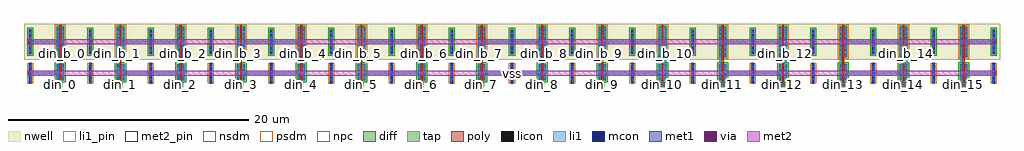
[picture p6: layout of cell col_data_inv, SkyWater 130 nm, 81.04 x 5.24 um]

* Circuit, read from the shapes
.subckt col_data_inv din_0 din_1 din_10 din_11 din_12 din_13 din_14 din_15 din_2 din_3 din_4 din_5 din_6 din_7 din_8 din_9 din_b_0 din_b_1 din_b_10 din_b_11 din_b_12 din_b_13 din_b_14 din_b_15 din_b_2 din_b_3 din_b_4 din_b_5 din_b_6 din_b_7 din_b_8 din_b_9 vdd vss
XM1 din_b_0 din_0 vss vss sky130_fd_pr__nfet_01v8 w=1.4 l=0.15
XM2 vss din_1 din_b_1 vss sky130_fd_pr__nfet_01v8 w=1.4 l=0.15
XM3 din_b_2 din_2 vss vss sky130_fd_pr__nfet_01v8 w=1.4 l=0.15
XM4 vss din_3 din_b_3 vss sky130_fd_pr__nfet_01v8 w=1.4 l=0.15
XM5 din_b_4 din_4 vss vss sky130_fd_pr__nfet_01v8 w=1.4 l=0.15
XM6 vss din_5 din_b_5 vss sky130_fd_pr__nfet_01v8 w=1.4 l=0.15
XM7 din_b_6 din_6 vss vss sky130_fd_pr__nfet_01v8 w=1.4 l=0.15
XM8 vss din_7 din_b_7 vss sky130_fd_pr__nfet_01v8 w=1.4 l=0.15
XM9 din_b_8 din_8 vss vss sky130_fd_pr__nfet_01v8 w=1.4 l=0.15
XM10 vss din_9 din_b_9 vss sky130_fd_pr__nfet_01v8 w=1.4 l=0.15
XM11 din_b_10 din_10 vss vss sky130_fd_pr__nfet_01v8 w=1.4 l=0.15
XM12 vss din_11 din_b_11 vss sky130_fd_pr__nfet_01v8 w=1.4 l=0.15
XM13 din_b_12 din_12 vss vss sky130_fd_pr__nfet_01v8 w=1.4 l=0.15
XM14 vss din_13 din_b_13 vss sky130_fd_pr__nfet_01v8 w=1.4 l=0.15
XM15 din_b_14 din_14 vss vss sky130_fd_pr__nfet_01v8 w=1.4 l=0.15
XM16 vss din_15 din_b_15 vss sky130_fd_pr__nfet_01v8 w=1.4 l=0.15
XM17 din_b_0 din_0 vdd vdd sky130_fd_pr__pfet_01v8 w=2.6 l=0.15
XM18 vdd din_1 din_b_1 vdd sky130_fd_pr__pfet_01v8 w=2.6 l=0.15
XM19 din_b_2 din_2 vdd vdd sky130_fd_pr__pfet_01v8 w=2.6 l=0.15
XM20 vdd din_3 din_b_3 vdd sky130_fd_pr__pfet_01v8 w=2.6 l=0.15
XM21 din_b_4 din_4 vdd vdd sky130_fd_pr__pfet_01v8 w=2.6 l=0.15
XM22 vdd din_5 din_b_5 vdd sky130_fd_pr__pfet_01v8 w=2.6 l=0.15
XM23 din_b_6 din_6 vdd vdd sky130_fd_pr__pfet_01v8 w=2.6 l=0.15
XM24 vdd din_7 din_b_7 vdd sky130_fd_pr__pfet_01v8 w=2.6 l=0.15
XM25 din_b_8 din_8 vdd vdd sky130_fd_pr__pfet_01v8 w=2.6 l=0.15
XM26 vdd din_9 din_b_9 vdd sky130_fd_pr__pfet_01v8 w=2.6 l=0.15
XM27 din_b_10 din_10 vdd vdd sky130_fd_pr__pfet_01v8 w=2.6 l=0.15
XM28 vdd din_11 din_b_11 vdd sky130_fd_pr__pfet_01v8 w=2.6 l=0.15
XM29 din_b_12 din_12 vdd vdd sky130_fd_pr__pfet_01v8 w=2.6 l=0.15
XM30 vdd din_13 din_b_13 vdd sky130_fd_pr__pfet_01v8 w=2.6 l=0.15
XM31 din_b_14 din_14 vdd vdd sky130_fd_pr__pfet_01v8 w=2.6 l=0.15
XM32 vdd din_15 din_b_15 vdd sky130_fd_pr__pfet_01v8 w=2.6 l=0.15
.ends

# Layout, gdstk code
from math import pi, radians
import gdstk
lib = gdstk.Library(unit=1e-6, precision=1e-09)
def R(c, l, rs):  # rectangles x0, y0, x1, y1
    for r in rs: c.add(gdstk.rectangle(r[:2], r[2:], *l))
def A(c, l, x, y, w, h, nx, ny, dx, dy):  # array of equal rectangles
    R(c, l, [(x+i*dx, y+j*dy, x+i*dx+w, y+j*dy+h) for i in range(nx) for j in range(ny)])
nwell = (64, 20)
diff = (65, 20)
tap = (65, 44)
poly = (66, 20)
licon = (66, 44)
li1_pin = (67, 16)
li1 = (67, 20)
mcon = (67, 44)
met1 = (68, 20)
via = (68, 44)
met2_pin = (69, 16)
met2 = (69, 20)
nsdm = (93, 44)
psdm = (94, 20)
npc = (95, 20)

polyc_1x1h = lib.new_cell('polyc_1x1h')
R(polyc_1x1h, poly, [(-0.08,-0.05,0.25,0.22)])
R(polyc_1x1h, licon, [(0,0,0.17,0.17)])
R(polyc_1x1h, li1, [(-0.08,0,0.25,0.17)])
R(polyc_1x1h, npc, [(-0.1,-0.1,0.27,0.27)])

ndiffc_1x4h = lib.new_cell('ndiffc_1x4h')
R(ndiffc_1x4h, diff, [(-0.06,-0.04,1.25,0.21)])
A(ndiffc_1x4h, licon, 0, 0, 0.17, 0.17, 4, 1, 0.34, 0)
R(ndiffc_1x4h, li1, [(-0.08,0,1.27,0.17)])
R(ndiffc_1x4h, nsdm, [(-0.185,-0.165,1.375,0.335)])

pdiffc_1x7h = lib.new_cell('pdiffc_1x7h')
R(pdiffc_1x7h, nwell, [(-0.24,-0.22,2.45,0.39)])
R(pdiffc_1x7h, diff, [(-0.06,-0.04,2.27,0.21)])
A(pdiffc_1x7h, licon, 0, 0, 0.17, 0.17, 7, 1, 0.34, 0)
R(pdiffc_1x7h, li1, [(-0.08,0,2.29,0.17)])
R(pdiffc_1x7h, psdm, [(-0.185,-0.165,2.395,0.335)])

ptx__nmos_svt_1400_150_1 = lib.new_cell('ptx__nmos_svt_1400_150_1__pmos_svt_2600_150_1')
R(ptx__nmos_svt_1400_150_1, nwell, [(1.74,-0.18,4.7,0.86)])
R(ptx__nmos_svt_1400_150_1, diff, [(0,0,1.4,0.68), (1.92,0,4.52,0.68)])
R(ptx__nmos_svt_1400_150_1, poly, [(-0.19,0.265,4.65,0.415)])
R(ptx__nmos_svt_1400_150_1, nsdm, [(-0.125,-0.125,1.525,0.805)])
R(ptx__nmos_svt_1400_150_1, psdm, [(1.795,-0.125,4.645,0.805)])
R(ptx__nmos_svt_1400_150_1, npc, [(-0.54,0.155,-0.17,0.525)])
ptx__nmos_svt_1400_150_1.add(gdstk.Reference(polyc_1x1h, (-0.44,0.255)))
ptx__nmos_svt_1400_150_1.add(gdstk.Reference(ndiffc_1x4h, (0.105,0.04)))
ptx__nmos_svt_1400_150_1.add(gdstk.Reference(pdiffc_1x7h, (2.115,0.04)))
ptx__nmos_svt_1400_150_1.add(gdstk.Reference(ndiffc_1x4h, (0.105,0.47)))
ptx__nmos_svt_1400_150_1.add(gdstk.Reference(pdiffc_1x7h, (2.115,0.47)))

col_data_inv_cell_inv = lib.new_cell('col_data_inv_cell_inv')
R(col_data_inv_cell_inv, li1, [(0.025,0.47,4.405,0.64)])
col_data_inv_cell_inv.add(gdstk.Reference(ptx__nmos_svt_1400_150_1, (0,0)))

col_data_inv_cell = lib.new_cell('col_data_inv_cell')
col_data_inv_cell.add(gdstk.Reference(col_data_inv_cell_inv, (0,0), rotation=pi/2))

col_data_inv_array_inst = lib.new_cell('col_data_inv_array_inst')
col_data_inv_array_inst.add(gdstk.Reference(col_data_inv_cell, (-0.68,0), rotation=pi, x_reflection=True))
col_data_inv_array_inst.add(gdstk.Reference(col_data_inv_cell, (5,0)))
col_data_inv_array_inst.add(gdstk.Reference(col_data_inv_cell, (9.32,0), rotation=pi, x_reflection=True))
col_data_inv_array_inst.add(gdstk.Reference(col_data_inv_cell, (15,0)))
col_data_inv_array_inst.add(gdstk.Reference(col_data_inv_cell, (19.32,0), rotation=pi, x_reflection=True))
col_data_inv_array_inst.add(gdstk.Reference(col_data_inv_cell, (25,0)))
col_data_inv_array_inst.add(gdstk.Reference(col_data_inv_cell, (29.32,0), rotation=pi, x_reflection=True))
col_data_inv_array_inst.add(gdstk.Reference(col_data_inv_cell, (35,0)))
col_data_inv_array_inst.add(gdstk.Reference(col_data_inv_cell, (39.32,0), rotation=pi, x_reflection=True))
col_data_inv_array_inst.add(gdstk.Reference(col_data_inv_cell, (45,0)))
col_data_inv_array_inst.add(gdstk.Reference(col_data_inv_cell, (49.32,0), rotation=pi, x_reflection=True))
col_data_inv_array_inst.add(gdstk.Reference(col_data_inv_cell, (55,0)))
col_data_inv_array_inst.add(gdstk.Reference(col_data_inv_cell, (59.32,0), rotation=pi, x_reflection=True))
col_data_inv_array_inst.add(gdstk.Reference(col_data_inv_cell, (65,0)))
col_data_inv_array_inst.add(gdstk.Reference(col_data_inv_cell, (69.32,0), rotation=pi, x_reflection=True))
col_data_inv_array_inst.add(gdstk.Reference(col_data_inv_cell, (75,0)))

ntap_6x1v = lib.new_cell('ntap_6x1v')
R(ntap_6x1v, tap, [(-0.04,-0.12,0.21,1.99)])
A(ntap_6x1v, licon, 0, 0, 0.17, 0.17, 1, 6, 0, 0.34)
R(ntap_6x1v, li1, [(0,-0.08,0.17,1.95)])
R(ntap_6x1v, nsdm, [(-0.165,-0.245,0.335,2.115)])

viali_6x1v = lib.new_cell('viali_6x1v')
R(viali_6x1v, li1, [(0,0,0.17,1.97)])
A(viali_6x1v, mcon, 0, 0, 0.17, 0.17, 1, 6, 0, 0.36)
R(viali_6x1v, met1, [(-0.03,-0.06,0.2,2.03)])

col_inv_ntap_cell = lib.new_cell('col_inv_ntap_cell')
col_inv_ntap_cell.add(gdstk.Reference(ntap_6x1v, (0,0)))
col_inv_ntap_cell.add(gdstk.Reference(viali_6x1v, (0,-0.05)))

col_data_inv_ntap_array = lib.new_cell('col_data_inv_ntap_array')
col_data_inv_ntap_array.add(gdstk.Reference(col_inv_ntap_cell, (0,0)))
col_data_inv_ntap_array.add(gdstk.Reference(col_inv_ntap_cell, (5,0)))
col_data_inv_ntap_array.add(gdstk.Reference(col_inv_ntap_cell, (10,0)))
col_data_inv_ntap_array.add(gdstk.Reference(col_inv_ntap_cell, (15,0)))
col_data_inv_ntap_array.add(gdstk.Reference(col_inv_ntap_cell, (20,0)))
col_data_inv_ntap_array.add(gdstk.Reference(col_inv_ntap_cell, (25,0)))
col_data_inv_ntap_array.add(gdstk.Reference(col_inv_ntap_cell, (30,0)))
col_data_inv_ntap_array.add(gdstk.Reference(col_inv_ntap_cell, (35,0)))
col_data_inv_ntap_array.add(gdstk.Reference(col_inv_ntap_cell, (40,0)))
col_data_inv_ntap_array.add(gdstk.Reference(col_inv_ntap_cell, (45,0)))
col_data_inv_ntap_array.add(gdstk.Reference(col_inv_ntap_cell, (50,0)))
col_data_inv_ntap_array.add(gdstk.Reference(col_inv_ntap_cell, (55,0)))
col_data_inv_ntap_array.add(gdstk.Reference(col_inv_ntap_cell, (60,0)))
col_data_inv_ntap_array.add(gdstk.Reference(col_inv_ntap_cell, (65,0)))
col_data_inv_ntap_array.add(gdstk.Reference(col_inv_ntap_cell, (70,0)))
col_data_inv_ntap_array.add(gdstk.Reference(col_inv_ntap_cell, (75,0)))
col_data_inv_ntap_array.add(gdstk.Reference(col_inv_ntap_cell, (80,0)))

ptap_4x1v = lib.new_cell('ptap_4x1v')
R(ptap_4x1v, tap, [(-0.04,-0.12,0.21,1.31)])
A(ptap_4x1v, licon, 0, 0, 0.17, 0.17, 1, 4, 0, 0.34)
R(ptap_4x1v, li1, [(0,-0.08,0.17,1.27)])
R(ptap_4x1v, psdm, [(-0.165,-0.245,0.335,1.435)])

viali_5x1v = lib.new_cell('viali_5x1v')
R(viali_5x1v, li1, [(0,0,0.17,1.61)])
A(viali_5x1v, mcon, 0, 0, 0.17, 0.17, 1, 5, 0, 0.36)
R(viali_5x1v, met1, [(-0.03,-0.06,0.2,1.67)])

col_inv_ptap_cell = lib.new_cell('col_inv_ptap_cell')
col_inv_ptap_cell.add(gdstk.Reference(ptap_4x1v, (0,0)))
col_inv_ptap_cell.add(gdstk.Reference(viali_5x1v, (0,-0.21)))

col_data_inv_ptap_array = lib.new_cell('col_data_inv_ptap_array')
col_data_inv_ptap_array.add(gdstk.Reference(col_inv_ptap_cell, (0,0)))
col_data_inv_ptap_array.add(gdstk.Reference(col_inv_ptap_cell, (5,0)))
col_data_inv_ptap_array.add(gdstk.Reference(col_inv_ptap_cell, (10,0)))
col_data_inv_ptap_array.add(gdstk.Reference(col_inv_ptap_cell, (15,0)))
col_data_inv_ptap_array.add(gdstk.Reference(col_inv_ptap_cell, (20,0)))
col_data_inv_ptap_array.add(gdstk.Reference(col_inv_ptap_cell, (25,0)))
col_data_inv_ptap_array.add(gdstk.Reference(col_inv_ptap_cell, (30,0)))
col_data_inv_ptap_array.add(gdstk.Reference(col_inv_ptap_cell, (35,0)))
col_data_inv_ptap_array.add(gdstk.Reference(col_inv_ptap_cell, (40,0)))
col_data_inv_ptap_array.add(gdstk.Reference(col_inv_ptap_cell, (45,0)))
col_data_inv_ptap_array.add(gdstk.Reference(col_inv_ptap_cell, (50,0)))
col_data_inv_ptap_array.add(gdstk.Reference(col_inv_ptap_cell, (55,0)))
col_data_inv_ptap_array.add(gdstk.Reference(col_inv_ptap_cell, (60,0)))
col_data_inv_ptap_array.add(gdstk.Reference(col_inv_ptap_cell, (65,0)))
col_data_inv_ptap_array.add(gdstk.Reference(col_inv_ptap_cell, (70,0)))
col_data_inv_ptap_array.add(gdstk.Reference(col_inv_ptap_cell, (75,0)))
col_data_inv_ptap_array.add(gdstk.Reference(col_inv_ptap_cell, (80,0)))

via1_1x1v = lib.new_cell('via1_1x1v')
R(via1_1x1v, met1, [(-0.055,-0.085,0.205,0.235)])
R(via1_1x1v, via, [(0,0,0.15,0.15)])
R(via1_1x1v, met2, [(-0.055,-0.085,0.205,0.235)])

col_data_inv_route = lib.new_cell('col_data_inv_route')
R(col_data_inv_route, li1, [(-2.925,-0.205,-2.755,1.405), (7.075,-0.205,7.245,1.405), (7.075,-0.205,7.245,1.405), (17.075,-0.205,17.245,1.405), (17.075,-0.205,17.245,1.405), (27.075,-0.205,27.245,1.405), (27.075,-0.205,27.245,1.405), (37.075,-0.205,37.245,1.405), (37.075,-0.205,37.245,1.405), (47.075,-0.205,47.245,1.405), (47.075,-0.205,47.245,1.405), (57.075,-0.205,57.245,1.405), (57.075,-0.205,57.245,1.405), (67.075,-0.205,67.245,1.405), (67.075,-0.205,67.245,1.405), (77.075,-0.205,77.245,1.405), (-2.925,0.515,-0.555,0.685), (4.875,0.515,7.245,0.685), (7.075,0.515,9.445,0.685), (14.875,0.515,17.245,0.685), (17.075,0.515,19.445,0.685), (24.875,0.515,27.245,0.685), (27.075,0.515,29.445,0.685), (34.875,0.515,37.245,0.685), (37.075,0.515,39.445,0.685), (44.875,0.515,47.245,0.685), (47.075,0.515,49.445,0.685), (54.875,0.515,57.245,0.685), (57.075,0.515,59.445,0.685), (64.875,0.515,67.245,0.685), (67.075,0.515,69.445,0.685), (74.875,0.515,77.245,0.685), (-2.925,2.205,-2.755,4.235), (7.075,2.205,7.245,4.235), (7.075,2.205,7.245,4.235), (17.075,2.205,17.245,4.235), (17.075,2.205,17.245,4.235), (27.075,2.205,27.245,4.235), (27.075,2.205,27.245,4.235), (37.075,2.205,37.245,4.235), (37.075,2.205,37.245,4.235), (47.075,2.205,47.245,4.235), (47.075,2.205,47.245,4.235), (57.075,2.205,57.245,4.235), (57.075,2.205,57.245,4.235), (67.075,2.205,67.245,4.235), (67.075,2.205,67.245,4.235), (77.075,2.205,77.245,4.235), (-2.925,3.135,-0.555,3.305), (4.875,3.135,7.245,3.305), (7.075,3.135,9.445,3.305), (14.875,3.135,17.245,3.305), (17.075,3.135,19.445,3.305), (24.875,3.135,27.245,3.305), (27.075,3.135,29.445,3.305), (34.875,3.135,37.245,3.305), (37.075,3.135,39.445,3.305), (44.875,3.135,47.245,3.305), (47.075,3.135,49.445,3.305), (54.875,3.135,57.245,3.305), (57.075,3.135,59.445,3.305), (64.875,3.135,67.245,3.305), (67.075,3.135,69.445,3.305), (74.875,3.135,77.245,3.305)])
R(col_data_inv_route, met2, [(-3.055,0.39,77.375,0.81), (-3.055,3.01,77.375,3.43)])
col_data_inv_route.add(gdstk.Reference(via1_1x1v, (-2.915,3.145)))
col_data_inv_route.add(gdstk.Reference(via1_1x1v, (2.085,3.145)))
col_data_inv_route.add(gdstk.Reference(via1_1x1v, (7.085,3.145)))
col_data_inv_route.add(gdstk.Reference(via1_1x1v, (12.085,3.145)))
col_data_inv_route.add(gdstk.Reference(via1_1x1v, (17.085,3.145)))
col_data_inv_route.add(gdstk.Reference(via1_1x1v, (22.085,3.145)))
col_data_inv_route.add(gdstk.Reference(via1_1x1v, (27.085,3.145)))
col_data_inv_route.add(gdstk.Reference(via1_1x1v, (32.085,3.145)))
col_data_inv_route.add(gdstk.Reference(via1_1x1v, (37.085,3.145)))
col_data_inv_route.add(gdstk.Reference(via1_1x1v, (42.085,3.145)))
col_data_inv_route.add(gdstk.Reference(via1_1x1v, (47.085,3.145)))
col_data_inv_route.add(gdstk.Reference(via1_1x1v, (52.085,3.145)))
col_data_inv_route.add(gdstk.Reference(via1_1x1v, (57.085,3.145)))
col_data_inv_route.add(gdstk.Reference(via1_1x1v, (62.085,3.145)))
col_data_inv_route.add(gdstk.Reference(via1_1x1v, (67.085,3.145)))
col_data_inv_route.add(gdstk.Reference(via1_1x1v, (72.085,3.145)))
col_data_inv_route.add(gdstk.Reference(via1_1x1v, (77.085,3.145)))
col_data_inv_route.add(gdstk.Reference(via1_1x1v, (-2.915,0.525)))
col_data_inv_route.add(gdstk.Reference(via1_1x1v, (2.085,0.525)))
col_data_inv_route.add(gdstk.Reference(via1_1x1v, (7.085,0.525)))
col_data_inv_route.add(gdstk.Reference(via1_1x1v, (12.085,0.525)))
col_data_inv_route.add(gdstk.Reference(via1_1x1v, (17.085,0.525)))
col_data_inv_route.add(gdstk.Reference(via1_1x1v, (22.085,0.525)))
col_data_inv_route.add(gdstk.Reference(via1_1x1v, (27.085,0.525)))
col_data_inv_route.add(gdstk.Reference(via1_1x1v, (32.085,0.525)))
col_data_inv_route.add(gdstk.Reference(via1_1x1v, (37.085,0.525)))
col_data_inv_route.add(gdstk.Reference(via1_1x1v, (42.085,0.525)))
col_data_inv_route.add(gdstk.Reference(via1_1x1v, (47.085,0.525)))
col_data_inv_route.add(gdstk.Reference(via1_1x1v, (52.085,0.525)))
col_data_inv_route.add(gdstk.Reference(via1_1x1v, (57.085,0.525)))
col_data_inv_route.add(gdstk.Reference(via1_1x1v, (62.085,0.525)))
col_data_inv_route.add(gdstk.Reference(via1_1x1v, (67.085,0.525)))
col_data_inv_route.add(gdstk.Reference(via1_1x1v, (72.085,0.525)))
col_data_inv_route.add(gdstk.Reference(via1_1x1v, (77.085,0.525)))

col_data_inv = lib.new_cell('col_data_inv')
R(col_data_inv, nwell, [(-3.36,1.74,77.68,4.7)])
A(col_data_inv, li1_pin, -0.425, -0.52, 0.17, 0.33, 16, 1, 5, 0)
R(col_data_inv, li1_pin, [(-0.21,0.025,-0.04,4.405), (4.36,0.025,4.53,4.405), (9.79,0.025,9.96,4.405), (14.36,0.025,14.53,4.405), (19.79,0.025,19.96,4.405), (24.36,0.025,24.53,4.405), (29.79,0.025,29.96,4.405), (34.36,0.025,34.53,4.405), (39.79,0.025,39.96,4.405), (44.36,0.025,44.53,4.405), (49.79,0.025,49.96,4.405), (54.36,0.025,54.53,4.405), (59.79,0.025,59.96,4.405), (64.36,0.025,64.53,4.405), (69.79,0.025,69.96,4.405), (74.36,0.025,74.53,4.405)])
R(col_data_inv, met2_pin, [(-3.055,0.39,77.375,0.81), (-3.055,3.01,77.375,3.43)])
col_data_inv.add(gdstk.Reference(col_data_inv_array_inst, (0,0)))
col_data_inv.add(gdstk.Reference(col_data_inv_ntap_array, (-2.925,2.285)))
col_data_inv.add(gdstk.Reference(col_data_inv_ptap_array, (-2.925,0.005)))
col_data_inv.add(gdstk.Reference(col_data_inv_route, (0,0)))
col_data_inv.add(gdstk.Label('din_0', (-0.34,-0.355), layer=67, texttype=16))
col_data_inv.add(gdstk.Label('din_b_0', (-0.125,2.215), layer=67, texttype=16))
col_data_inv.add(gdstk.Label('din_1', (4.66,-0.355), layer=67, texttype=16))
col_data_inv.add(gdstk.Label('din_b_1', (4.445,2.215), layer=67, texttype=16))
col_data_inv.add(gdstk.Label('din_2', (9.66,-0.355), layer=67, texttype=16))
col_data_inv.add(gdstk.Label('din_b_2', (9.875,2.215), layer=67, texttype=16))
col_data_inv.add(gdstk.Label('din_3', (14.66,-0.355), layer=67, texttype=16))
col_data_inv.add(gdstk.Label('din_b_3', (14.445,2.215), layer=67, texttype=16))
col_data_inv.add(gdstk.Label('din_4', (19.66,-0.355), layer=67, texttype=16))
col_data_inv.add(gdstk.Label('din_b_4', (19.875,2.215), layer=67, texttype=16))
col_data_inv.add(gdstk.Label('din_5', (24.66,-0.355), layer=67, texttype=16))
col_data_inv.add(gdstk.Label('din_b_5', (24.445,2.215), layer=67, texttype=16))
col_data_inv.add(gdstk.Label('din_6', (29.66,-0.355), layer=67, texttype=16))
col_data_inv.add(gdstk.Label('din_b_6', (29.875,2.215), layer=67, texttype=16))
col_data_inv.add(gdstk.Label('din_7', (34.66,-0.355), layer=67, texttype=16))
col_data_inv.add(gdstk.Label('din_b_7', (34.445,2.215), layer=67, texttype=16))
col_data_inv.add(gdstk.Label('din_8', (39.66,-0.355), layer=67, texttype=16))
col_data_inv.add(gdstk.Label('din_b_8', (39.875,2.215), layer=67, texttype=16))
col_data_inv.add(gdstk.Label('din_9', (44.66,-0.355), layer=67, texttype=16))
col_data_inv.add(gdstk.Label('din_b_9', (44.445,2.215), layer=67, texttype=16))
col_data_inv.add(gdstk.Label('din_10', (49.66,-0.355), layer=67, texttype=16))
col_data_inv.add(gdstk.Label('din_b_10', (49.875,2.215), layer=67, texttype=16))
col_data_inv.add(gdstk.Label('din_11', (54.66,-0.355), layer=67, texttype=16))
col_data_inv.add(gdstk.Label('din_b_11', (54.445,2.215), layer=67, texttype=16))
col_data_inv.add(gdstk.Label('din_12', (59.66,-0.355), layer=67, texttype=16))
col_data_inv.add(gdstk.Label('din_b_12', (59.875,2.215), layer=67, texttype=16))
col_data_inv.add(gdstk.Label('din_13', (64.66,-0.355), layer=67, texttype=16))
col_data_inv.add(gdstk.Label('din_b_13', (64.445,2.215), layer=67, texttype=16))
col_data_inv.add(gdstk.Label('din_14', (69.66,-0.355), layer=67, texttype=16))
col_data_inv.add(gdstk.Label('din_b_14', (69.875,2.215), layer=67, texttype=16))
col_data_inv.add(gdstk.Label('din_15', (74.66,-0.355), layer=67, texttype=16))
col_data_inv.add(gdstk.Label('din_b_15', (74.445,2.215), layer=67, texttype=16))
col_data_inv.add(gdstk.Label('vdd', (37.16,3.22), layer=69, texttype=16))
col_data_inv.add(gdstk.Label('vss', (37.16,0.6), layer=69, texttype=16))

lib.write_gds('col_data_inv.gds')
